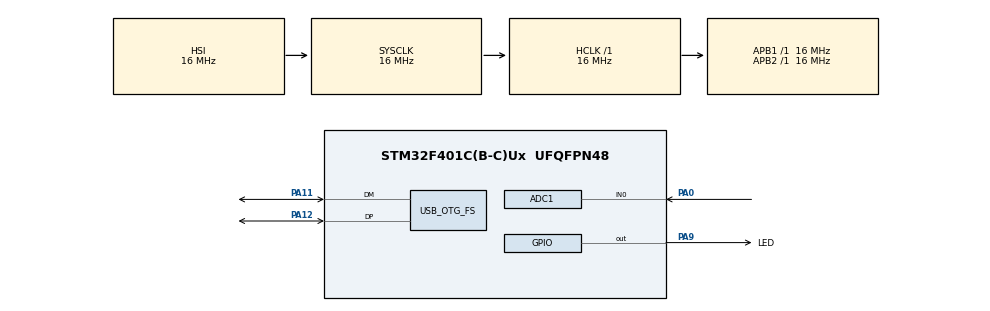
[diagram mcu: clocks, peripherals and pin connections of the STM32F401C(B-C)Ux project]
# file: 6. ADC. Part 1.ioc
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ADC1.Channel-2\#ChannelRegularConversion=ADC_CHANNEL_0
ADC1.ClockPrescaler=ADC_CLOCK_SYNC_PCLK_DIV8
ADC1.ContinuousConvMode=ENABLE
ADC1.EOCSelection=ADC_EOC_SINGLE_CONV
ADC1.EnableAnalogWatchDog=false
ADC1.NbrOfConversion=1
ADC1.NbrOfConversionFlag=1
ADC1.Rank-2\#ChannelRegularConversion=1
ADC1.SamplingTime-2\#ChannelRegularConversion=ADC_SAMPLETIME_3CYCLES
ADC1.ScanConvMode=DISABLE
ADC1.master=1
Mcu.Family=STM32F4
Mcu.Name=STM32F401C(B-C)Ux
Mcu.Package=UFQFPN48
NVIC.ADC_IRQn=true\:2\:0\:true\:false\:true\:true\:true\:true
NVIC.OTG_FS_IRQn=true\:2\:0\:true\:false\:true\:true\:true\:true
NVIC.PriorityGroup=NVIC_PRIORITYGROUP_4
PA0-WKUP.Signal=ADCx_IN0
PA11.Mode=Device_Only
PA11.Signal=USB_OTG_FS_DM
PA12.Mode=Device_Only
PA12.Signal=USB_OTG_FS_DP
PA13.Mode=Serial_Wire
PA13.Signal=SYS_JTMS-SWDIO
PA14.Mode=Serial_Wire
PA14.Signal=SYS_JTCK-SWCLK
PA9.GPIO_Label=LED
PA9.PinState=GPIO_PIN_SET
PA9.Signal=GPIO_Output
ProjectManager.HeapSize=0x200
ProjectManager.StackSize=0x400
ProjectManager.TargetToolchain=STM32CubeIDE
RCC.AHBFreq_Value=16000000
RCC.APB1Freq_Value=16000000
RCC.APB2Freq_Value=16000000
RCC.CortexFreq_Value=16000000
RCC.HSE_VALUE=25000000
RCC.HSI_VALUE=16000000
RCC.LSE_VALUE=32768
RCC.PLLSource=RCC_PLLSOURCE_HSI
RCC.PLLSourceVirtualString=RCC_PLLSOURCE_HSI
RCC.SYSCLKFreq_VALUE=16000000
RCC.VCOOutputFreq_Value=192000000
SH.ADCx_IN0.0=ADC1_IN0,IN0
USB_DEVICE.CLASS_NAME_FS=CDC
USB_DEVICE.VirtualMode=Cdc
USB_DEVICE.VirtualModeFS=Cdc_FS
USB_OTG_FS.VirtualMode=Device_Only
VP_USB_DEVICE_VS_USB_DEVICE_CDC_FS.Mode=CDC_FS
board=custom

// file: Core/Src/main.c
/* USER CODE BEGIN Header */
/**
  ******************************************************************************
  * @file           : main.c
  * @brief          : Main program body
  ******************************************************************************
  * @attention
  *
  * Copyright (c) 2024 STMicroelectronics.
  * All rights reserved.
  *
  * This software is licensed under terms that can be found in the LICENSE file
  * in the root directory of this software component.
  * If no LICENSE file comes with this software, it is provided AS-IS.
  *
  ******************************************************************************
  */
/* USER CODE END Header */
#include "main.h"
#include "adc.h"
#include "usb_device.h"
#include "gpio.h"

/* USER CODE BEGIN Includes */

#include "usbd_cdc_if.h"

/* USER CODE END Includes */

/* USER CODE BEGIN PD */

//#define WATCH_DOG_ADC

/* USER CODE END PD */

void SystemClock_Config(void);

int main(void)
{

  /* MCU Configuration--------------------------------------------------------*/

  /* Reset of all peripherals, Initializes the Flash interface and the Systick. */
  HAL_Init();

  /* Configure the system clock */
  SystemClock_Config();

  /* Initialize all configured peripherals */
  MX_GPIO_Init();
  MX_ADC1_Init();
  MX_USB_DEVICE_Init();

  /* Infinite loop */
  /* USER CODE BEGIN WHILE */

  //int value;

  while (1)
  {
	ADC1_Start_IT();
	HAL_Delay(100);
#if 0
	ADC1_Start_IT();
	ADC1_PollForConversion(1);
	value = ADC1_GetValue();
	printf("%d\n", value);
#endif
    /* USER CODE END WHILE */

  }
}

void SystemClock_Config(void)
{
  RCC_OscInitTypeDef RCC_OscInitStruct = {0};
  RCC_ClkInitTypeDef RCC_ClkInitStruct = {0};

  /** Configure the main internal regulator output voltage
  */
  __HAL_RCC_PWR_CLK_ENABLE();
  __HAL_PWR_VOLTAGESCALING_CONFIG(PWR_REGULATOR_VOLTAGE_SCALE2);

  /** Initializes the RCC Oscillators according to the specified parameters
  * in the RCC_OscInitTypeDef structure.
  */
  RCC_OscInitStruct.OscillatorType = RCC_OSCILLATORTYPE_HSI;
  RCC_OscInitStruct.HSIState = RCC_HSI_ON;
  RCC_OscInitStruct.HSICalibrationValue = RCC_HSICALIBRATION_DEFAULT;
  RCC_OscInitStruct.PLL.PLLState = RCC_PLL_ON;
  RCC_OscInitStruct.PLL.PLLSource = RCC_PLLSOURCE_HSI;
  RCC_OscInitStruct.PLL.PLLM = 16;
  RCC_OscInitStruct.PLL.PLLN = 192;
  RCC_OscInitStruct.PLL.PLLP = RCC_PLLP_DIV2;
  RCC_OscInitStruct.PLL.PLLQ = 4;
  if (HAL_RCC_OscConfig(&RCC_OscInitStruct) != HAL_OK)
  {
    Error_Handler();
  }

  /** Initializes the CPU, AHB and APB buses clocks
  */
  RCC_ClkInitStruct.ClockType = RCC_CLOCKTYPE_HCLK|RCC_CLOCKTYPE_SYSCLK
                              |RCC_CLOCKTYPE_PCLK1|RCC_CLOCKTYPE_PCLK2;
  RCC_ClkInitStruct.SYSCLKSource = RCC_SYSCLKSOURCE_HSI;
  RCC_ClkInitStruct.AHBCLKDivider = RCC_SYSCLK_DIV1;
  RCC_ClkInitStruct.APB1CLKDivider = RCC_HCLK_DIV1;
  RCC_ClkInitStruct.APB2CLKDivider = RCC_HCLK_DIV1;

  if (HAL_RCC_ClockConfig(&RCC_ClkInitStruct, FLASH_LATENCY_0) != HAL_OK)
  {
    Error_Handler();
  }
}

/* USER CODE BEGIN 4 */

#ifndef WATCH_DOG_ADC
void HAL_ADC_ConvCpltCallback(ADC_HandleTypeDef* hadc)
{
	static int is_on = 0;

	int value = ADC1_GetValue();

	if(is_on && value < 1200)
		is_on = 0;
	else if(!is_on && value > 2400)
		is_on = 1;

	HAL_GPIO_WritePin(LED_GPIO_Port, LED_Pin, !is_on);

	printf("%d\n", value);
}
#endif

#ifdef WATCH_DOG_ADC
void HAL_ADC_LevelOutOfWindowCallback(ADC_HandleTypeDef* hadc){
	static int is_on = 0;

	int value = ADC1_GetValue();

	if(is_on && value < 2800)
		is_on = 0;
	else if(!is_on && value > 3300)
		is_on = 1;

	HAL_GPIO_WritePin(LED_GPIO_Port, LED_Pin, !is_on);
}
#endif

int _write(int file, char* buf, int len)
{
	CDC_Transmit_FS((uint8_t*)buf, len);
	return len;
}

/* USER CODE END 4 */

void Error_Handler(void)
{
  __disable_irq();
  while (1)
  {
  }
}
